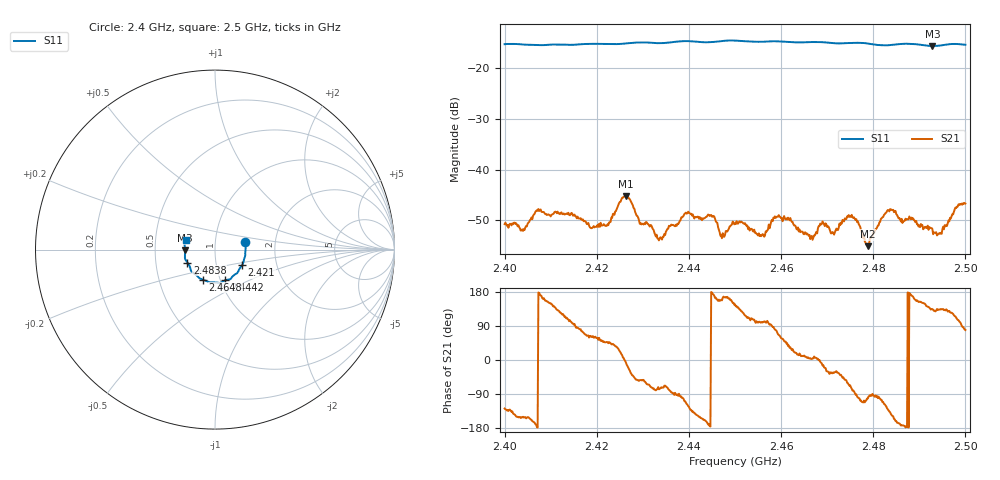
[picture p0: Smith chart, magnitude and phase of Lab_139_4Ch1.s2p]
# Hz S RI R 50
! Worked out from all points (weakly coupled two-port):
!   601 points, 2.4 GHz to 2.5 GHz, reference 50 ohm
!   highest |S21| = -45.19 dB at 2.4263 GHz (marker M1); lowest = -55.1 dB at 2.4788 GHz (marker M2)
!   lowest |S11| = -15.6 dB at 2.4928 GHz (marker M3), VSWR 1.40, Z = 35.8 - j0.356 ohm
!   |S11| at or under -10 dB: start of sweep to end of sweep
!   S12 and S22 are empty: the file has one direction only
!   S11 on the Smith chart (normalised r, x): 2.4 GHz: 1.40, +0.12; 2.421 GHz: 1.33, -0.24; 2.4442 GHz: 1.05, -0.37; 2.4648 GHz: 0.83, -0.29; 2.4838 GHz: 0.73, -0.11; 2.5 GHz: 0.72, +0.08
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2.4e9  0.1678 0.0412  -0.0018 -0.00228  0 0  0 0
2.404e9  0.1708 0.0173  -0.00215 -0.00125  0 0  0 0
2.407333e9  0.1689 -0.0122  -0.00409 0.000131  0 0  0 0
2.416667e9  0.159 -0.0681  0.000758 0.00314  0 0  0 0
2.421e9  0.1502 -0.0876  0.00172 0.00222  0 0  0 0
2.426333e9  0.132 -0.1161  0.00546 -0.000665  0 0  0 0
2.433333e9  0.1079 -0.1403  0.000654 -0.00197  0 0  0 0
2.4395e9  0.0838 -0.1654  -0.00161 -0.00332  0 0  0 0
2.444167e9  0.0566 -0.1715  -0.00356 -0.000617  0 0  0 0
2.447333e9  0.0358 -0.1823  -0.00227 0.000656  0 0  0 0
2.45e9  0.0245 -0.186  -0.00246 0.00161  0 0  0 0
2.456e9  -0.0141 -0.182  -0.000368 0.00229  0 0  0 0
2.4595e9  -0.0327 -0.1813  0.00145 0.00325  0 0  0 0
2.464833e9  -0.0683 -0.1669  0.00229 0.000413  0 0  0 0
2.466667e9  -0.0799 -0.1629  0.00222 0.000103  0 0  0 0
2.474833e9  -0.1212 -0.1296  0.00128 -0.00317  0 0  0 0
2.478833e9  -0.1357 -0.1108  -0.000355 -0.00172  0 0  0 0
2.483333e9  -0.1506 -0.0762  -0.00272 -0.0029  0 0  0 0
2.483833e9  -0.1534 -0.0721  -0.00322 -0.00247  0 0  0 0
2.492833e9  -0.1658 -0.00484  -0.00182 0.00186  0 0  0 0
2.494333e9  -0.1668 0.0111  -0.00161 0.00173  0 0  0 0
2.5e9  -0.1622 0.0529  0.000877 0.00455  0 0  0 0
